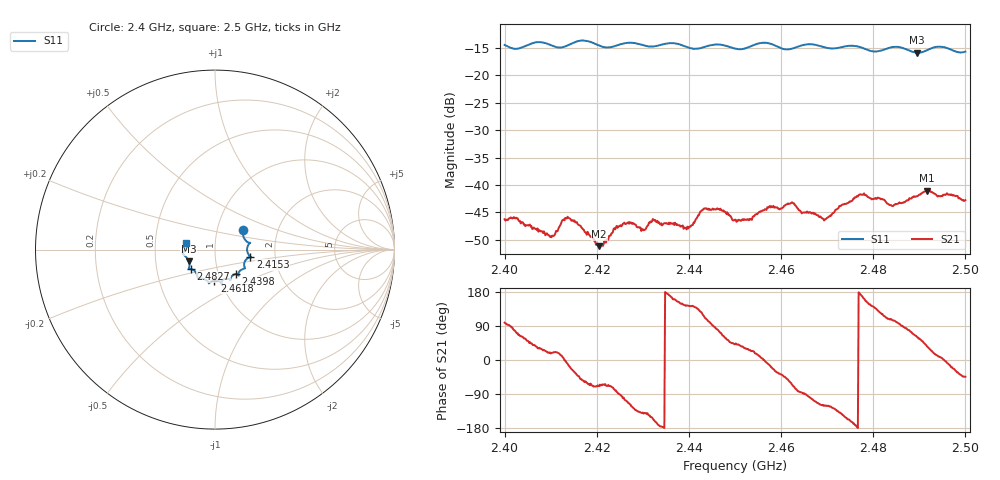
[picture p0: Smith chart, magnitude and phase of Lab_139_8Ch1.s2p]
# Hz S RI R 50
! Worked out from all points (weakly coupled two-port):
!   601 points, 2.4 GHz to 2.5 GHz, reference 50 ohm
!   highest |S21| = -41.00 dB at 2.4917 GHz (marker M1); lowest = -51.1 dB at 2.4205 GHz (marker M2)
!   lowest |S11| = -15.9 dB at 2.4895 GHz (marker M3), VSWR 1.38, Z = 37 - j5.03 ohm
!   |S11| at or under -10 dB: start of sweep to end of sweep
!   S12 and S22 are empty: the file has one direction only
!   S11 on the Smith chart (normalised r, x): 2.4 GHz: 1.33, +0.29; 2.4153 GHz: 1.48, -0.12; 2.4398 GHz: 1.21, -0.34; 2.4618 GHz: 0.94, -0.33; 2.4827 GHz: 0.75, -0.17; 2.5 GHz: 0.72, +0.06
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2.4e9  0.1554 0.1068  -0.000728 0.00483  0 0  0 0
2.410167e9  0.185 0.0247  0.00317 0.00107  0 0  0 0
2.413167e9  0.1819 -0.0173  0.00502 -0.000117  0 0  0 0
2.415333e9  0.1965 -0.0398  0.0038 -0.00254  0 0  0 0
2.416667e9  0.2022 -0.0437  0.00261 -0.00316  0 0  0 0
2.4205e9  0.1797 -0.0494  0.000988 -0.00259  0 0  0 0
2.426167e9  0.1673 -0.1016  -0.00122 -0.00424  0 0  0 0
2.430167e9  0.1513 -0.1106  -0.00303 -0.00242  0 0  0 0
2.433333e9  0.1301 -0.1335  -0.00446 -0.000669  0 0  0 0
2.439833e9  0.1157 -0.1361  -0.00323 0.00239  0 0  0 0
2.443667e9  0.0861 -0.1608  -0.00205 0.00579  0 0  0 0
2.45e9  0.065 -0.1623  0.00364 0.0032  0 0  0 0
2.456333e9  0.0385 -0.1938  0.0059 4.87e-06  0 0  0 0
2.461833e9  -0.00309 -0.1725  0.00368 -0.00566  0 0  0 0
2.466667e9  -0.0343 -0.1881  -0.00123 -0.00535  0 0  0 0
2.469667e9  -0.0448 -0.1728  -0.00243 -0.00423  0 0  0 0
2.4775e9  -0.0981 -0.1489  -0.00802 0.00154  0 0  0 0
2.482667e9  -0.1348 -0.1085  -0.0028 0.00653  0 0  0 0
2.483333e9  -0.14 -0.108  -0.00214 0.00635  0 0  0 0
2.4895e9  -0.1458 -0.0662  0.00386 0.00689  0 0  0 0
2.491667e9  -0.1646 -0.0377  0.00721 0.00524  0 0  0 0
2.5e9  -0.1593 0.0387  0.00523 -0.00508  0 0  0 0
